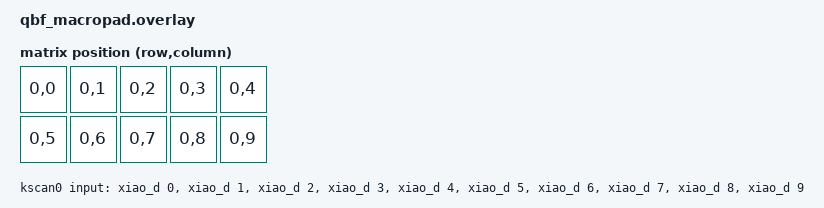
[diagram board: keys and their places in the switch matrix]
#include <dt-bindings/gpio/gpio.h>
#include <dt-bindings/zmk/matrix_transform.h>

/ {
    chosen {
        zmk,kscan = &kscan0;
        zmk,physical-layout = &physical_layout0;
    };

    kscan0: kscan0 {
        compatible = "zmk,kscan-gpio-direct";
        wakeup-source;
        input-gpios = <&xiao_d 0 (GPIO_ACTIVE_LOW | GPIO_PULL_UP)>,
                      <&xiao_d 1 (GPIO_ACTIVE_LOW | GPIO_PULL_UP)>,
                      <&xiao_d 2 (GPIO_ACTIVE_LOW | GPIO_PULL_UP)>,
                      <&xiao_d 3 (GPIO_ACTIVE_LOW | GPIO_PULL_UP)>,
                      <&xiao_d 4 (GPIO_ACTIVE_LOW | GPIO_PULL_UP)>,
                      <&xiao_d 5 (GPIO_ACTIVE_LOW | GPIO_PULL_UP)>,
                      <&xiao_d 6 (GPIO_ACTIVE_LOW | GPIO_PULL_UP)>,
                      <&xiao_d 7 (GPIO_ACTIVE_LOW | GPIO_PULL_UP)>,
                      <&xiao_d 8 (GPIO_ACTIVE_LOW | GPIO_PULL_UP)>,
                      <&xiao_d 9 (GPIO_ACTIVE_LOW | GPIO_PULL_UP)>;
    };

    default_transform: matrix_transform_0 {
        compatible = "zmk,matrix-transform";
        rows = <1>;
        columns = <10>;
        map = <RC(0,0) RC(0,1) RC(0,2) RC(0,3) RC(0,4)
               RC(0,5) RC(0,6) RC(0,7) RC(0,8) RC(0,9)>;
    };

    physical_layout0: physical_layout_0 {
        compatible = "zmk,physical-layout";
        display-name = "QBF 10-key";
        transform = <&default_transform>;
        kscan = <&kscan0>;
    };
};

&xiao_i2c { status = "disabled"; };
&xiao_spi { status = "disabled"; };
&xiao_serial { status = "disabled"; };

&gpio0 {
    qbf_charge_slow {
        gpio-hog;
        gpios = <13 GPIO_ACTIVE_HIGH>;
        input;
    };
};
